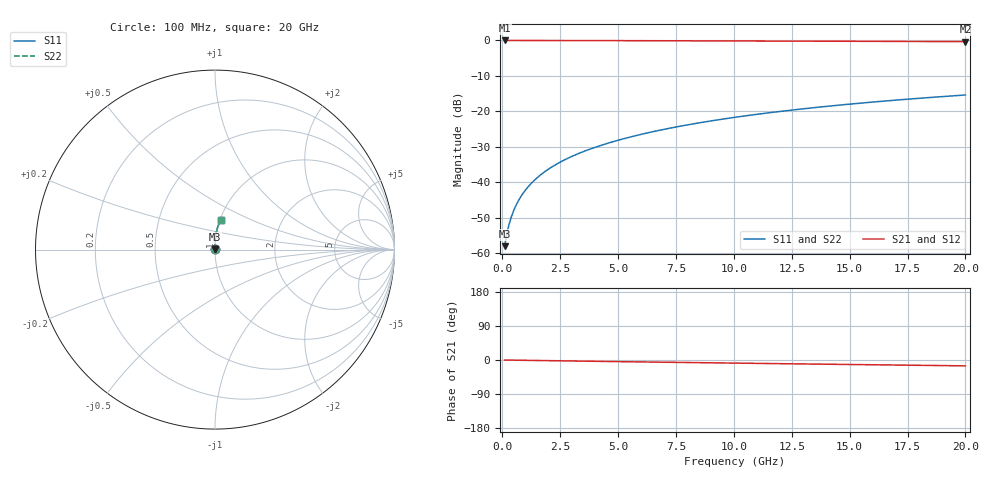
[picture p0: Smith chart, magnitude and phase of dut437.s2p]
! Touchstone file exported from HFSS 2024.1.0
!  File:  C:/UserFiles/LocalFiles/RDL_TSV_Batchsim/temp_RDL_top_437_1779676630.aedt
!  Generated:  10:39:32 AM May 25, 2026
!  Design:  RDL_top
!  Project:  temp_RDL_top_437_1779676630
!  Setup:  Setup1
!  Solution:  Sweep
! Variables:
!  dtsv = 10.80580581um
!  hbump = 3um
!  htsv = 57.99um
!  ldown = 100um
!  lrdl = 197.36um
!  p = 40
!  p1 = 46.02um
!  rhole = 1um
!  t = 450um
!  tdown = 3.915915916um
!  trdl = 4.51um
!  wdown = 15.38538539um
!  wrdl = 19.86um
# GHz S MA R 50.000000
! Terminal data exported
! Port[1] = Box2_T1
! Port[2] = Box2_T2
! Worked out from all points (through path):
!   200 points, 100 MHz to 20 GHz, reference 50 ohm
!   highest |S21| = -0.01 dB at 100 MHz (marker M1); lowest = -0.3 dB at 20 GHz (marker M2)
!   group delay of S21, straight-line fit = 2.12 ps
!   lowest |S11| = -58.1 dB at 100 MHz (marker M3), VSWR 1.00, Z = 50.1 + j0.0826 ohm
!   |S11| at or under -10 dB: start of sweep to end of sweep
!   |S22| runs from -58.1 to -15.4 dB; largest |S21 - S12| = 6.3e-15
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0.1  0.001251 41.2  0.9991 -0.1  0.9991 -0.1  0.001251 41.2
! Gamma 0 0 0 0
! Port Impedance 50 0 50 0
0.2  0.001894 58.6  0.999 -0.2  0.999 -0.2  0.001894 58.6
0.3  0.002594 66.7  0.9989 -0.3  0.9989 -0.3  0.002594 66.7
0.4  0.003309 71.4  0.9989 -0.4  0.9989 -0.4  0.003309 71.4
0.5  0.004033 74.6  0.9988 -0.4  0.9988 -0.4  0.004032 74.6
0.6  0.004764 76.9  0.9988 -0.5  0.9988 -0.5  0.004764 76.9
0.8  0.006243 79.9  0.9987 -0.7  0.9987 -0.7  0.006243 79.9
1.1  0.008489 82.6  0.9985 -1.0  0.9985 -1.0  0.008489 82.6
1.5  0.01151 84.6  0.9982 -1.3  0.9982 -1.3  0.01151 84.6
1.8  0.0138 85.6  0.998 -1.6  0.998 -1.6  0.0138 85.6
2.1  0.0161 86.3  0.9977 -1.9  0.9977 -1.9  0.0161 86.3
2.7  0.02073 87.2  0.9969 -2.4  0.9969 -2.4  0.02073 87.2
3.5  0.027 87.9  0.9958 -3.1  0.9958 -3.1  0.027 87.9
4.2  0.03257 88.3  0.9946 -3.6  0.9946 -3.6  0.03257 88.3
5  0.03906 88.5  0.9931 -4.3  0.9931 -4.3  0.03906 88.5
5.9  0.0465 88.5  0.9914 -5.0  0.9914 -5.0  0.0465 88.5
6.8  0.05408 88.3  0.9896 -5.7  0.9896 -5.7  0.05408 88.3
8.4  0.06785 87.7  0.9863 -7.0  0.9863 -7.0  0.06785 87.7
10.1  0.08277 86.8  0.9828 -8.3  0.9828 -8.3  0.08277 86.8
13.4  0.1121 84.4  0.9761 -10.7  0.9761 -10.7  0.1121 84.4
16.7  0.1413 81.7  0.9695 -13.1  0.9695 -13.1  0.1413 81.7
20  0.1699 79.0  0.9627 -15.5  0.9627 -15.5  0.1699 79.0
